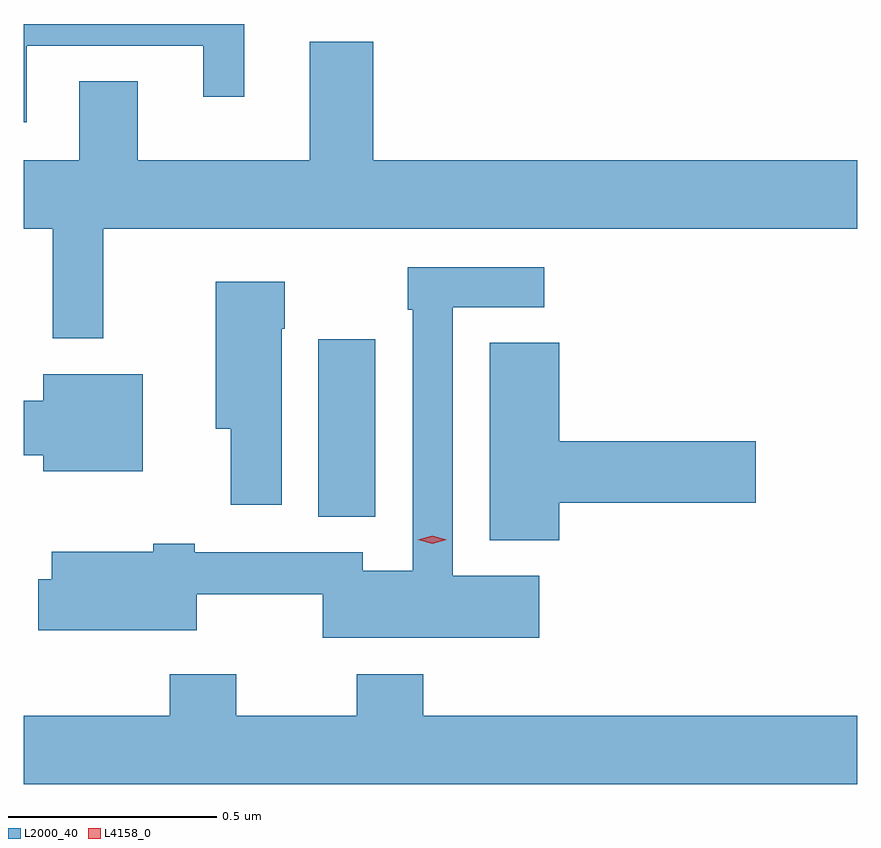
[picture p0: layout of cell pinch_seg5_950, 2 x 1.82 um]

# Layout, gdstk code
import gdstk
lib = gdstk.Library(unit=1e-6, precision=1e-09)
def R(c, l, rs):  # rectangles x0, y0, x1, y1
    for r in rs: c.add(gdstk.rectangle(r[:2], r[2:], *l))
def P(c, l, *ps):  # polygons
    for p in ps: c.add(gdstk.Polygon(p, *l))
L2000_40 = (2000, 40)
L4158_0 = (4158, 0)

pinch_seg5_950 = lib.new_cell('pinch_seg5_950')
R(pinch_seg5_950, L2000_40, [(659.744,902.689,659.881,903.115)])
P(pinch_seg5_950, L2000_40, [(659.044,903.819),(659.468,903.819),(659.468,903.696),(659.566,903.696),(659.566,903.871),(659.037,903.871),(659.037,903.635),(659.044,903.635)],
  [(659.228,903.38),(661.037,903.38),(661.037,903.544),(659.876,903.544),(659.876,903.829),(659.723,903.829),(659.723,903.544),(659.311,903.544),(659.311,903.734),(659.171,903.734),(659.171,903.544),(659.037,903.544),(659.037,903.38),(659.107,903.38),(659.107,903.117),(659.228,903.117)],
  [(660.274,902.548),(660.066,902.548),(660.066,903.192),(660.286,903.192),(660.286,903.288),(659.958,903.288),(659.958,903.185),(659.97,903.185),(659.97,902.56),(659.85,902.56),(659.85,902.604),(659.448,902.604),(659.448,902.624),(659.348,902.624),(659.348,902.605),(659.105,902.605),(659.105,902.539),(659.072,902.539),(659.072,902.417),(659.452,902.417),(659.452,902.503),(659.754,902.503),(659.754,902.399),(660.274,902.399)],
  [(659.656,903.14),(659.664,903.14),(659.664,903.253),(659.498,903.253),(659.498,902.9),(659.534,902.9),(659.534,902.718),(659.656,902.718)],
  [(660.322,902.723),(660.793,902.723),(660.793,902.87),(660.322,902.87),(660.322,903.107),(660.155,903.107),(660.155,902.633),(660.322,902.633)],
  [(659.323,903.031),(659.084,903.031),(659.084,902.967),(659.037,902.967),(659.037,902.837),(659.084,902.837),(659.084,902.798),(659.323,902.798)],
  [(661.037,902.212),(659.996,902.212),(659.996,902.311),(659.836,902.311),(659.836,902.212),(659.547,902.212),(659.547,902.311),(659.387,902.311),(659.387,902.212),(659.037,902.212),(659.037,902.048),(661.037,902.048)])
P(pinch_seg5_950, L4158_0, [(660.017,902.624),(659.983,902.634),(659.983,902.634),(659.983,902.634),(660.017,902.644),(660.052,902.634),(660.052,902.634),(660.052,902.634)])

lib.write_gds('pinch_seg5_950.gds')
